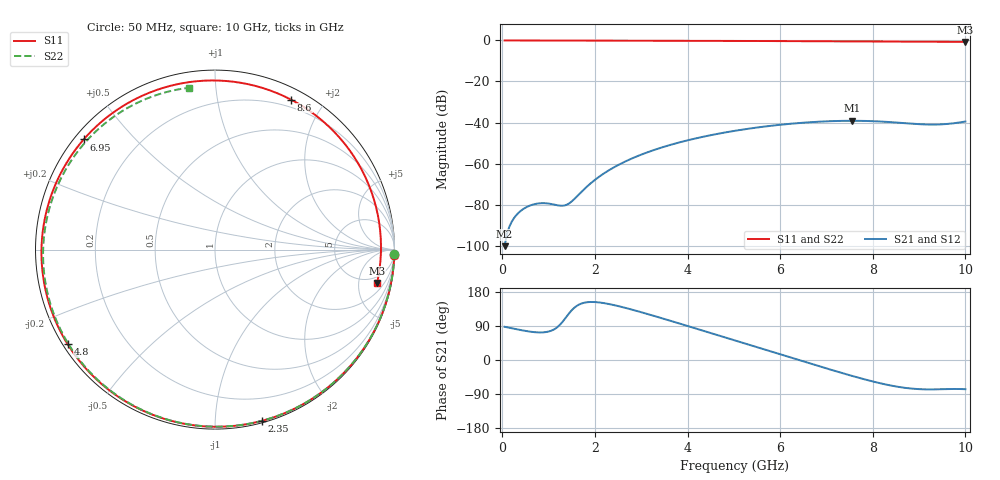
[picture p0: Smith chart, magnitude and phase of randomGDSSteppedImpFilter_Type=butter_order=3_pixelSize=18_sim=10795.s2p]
! freq	dB(S11)	phase(S11)	dB(S12)	phase(S12)
!  dB(S21)	phase(S21)	dB(S22)	phase(S22)
!S-par simulation data
#  GHz  S  DB  R 50
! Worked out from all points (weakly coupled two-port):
!   200 points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, 50 MHz to 10 GHz, reference 50 ohm
!   highest |S21| = -39.15 dB at 7.55 GHz (marker M1); lowest = -100.3 dB at 50 MHz (marker M2)
!   lowest |S11| = -0.7 dB at 10 GHz (marker M3), VSWR 24.62, Z = 171 - j423 ohm
!   |S11| at or under -10 dB: nowhere
!   |S22| runs from -0.8 to 0.0 dB; largest |S21 - S12| = 0
!   S11 on the Smith chart (normalised r, x): 50 MHz: 1, -68; 2.35 GHz: 0.01, -1.31; 4.8 GHz: 0.01, -0.29; 6.95 GHz: 0.03, +0.36; 8.6 GHz: 0.12, +1.62; 10 GHz: 3.42, -8.47
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0.05  -0.00 -1.7  -100.25 87.6  -100.25 87.6  -0.00 -1.4
0.7  -0.03 -22.9  -79.75 73.4  -79.75 73.4  -0.02 -18.8
1.4  -0.06 -45.4  -79.98 116.5  -79.98 116.5  -0.05 -37.2
1.75  -0.07 -56.4  -72.87 150.5  -72.87 150.5  -0.06 -46.2
2.05  -0.08 -65.6  -67.09 152.4  -67.09 152.4  -0.07 -53.9
2.35  -0.09 -74.8  -62.62 146.5  -62.62 146.5  -0.08 -61.4
2.85  -0.11 -89.8  -57.02 131.3  -57.02 131.3  -0.09 -73.7
3.4  -0.14 -106.1  -52.46 111.9  -52.46 111.9  -0.11 -86.9
4.1  -0.17 -126.5  -48.13 86.1  -48.13 86.1  -0.14 -103.3
4.8  -0.21 -147.2  -44.88 60.0  -44.88 60.0  -0.17 -119.3
5.05  -0.23 -154.8  -43.93 50.6  -43.93 50.6  -0.19 -124.9
5.9  -0.30 178.2  -41.33 18.8  -41.33 18.8  -0.24 -144.2
6.7  -0.37 149.7  -39.77 -11.1  -39.77 -11.1  -0.31 -162.8
6.95  -0.40 140.0  -39.47 -20.3  -39.47 -20.3  -0.33 -168.8
7.55  -0.46 114.7  -39.15 -41.9  -39.15 -41.9  -0.39 176.3
7.95  -0.50 96.1  -39.30 -55.1  -39.30 -55.1  -0.44 165.8
8.35  -0.54 76.2  -39.75 -66.4  -39.75 -66.4  -0.49 154.8
8.6  -0.57 63.1  -40.15 -71.8  -40.15 -71.8  -0.52 147.5
9  -0.60 41.7  -40.79 -76.9  -40.79 -76.9  -0.58 135.1
9.35  -0.63 22.7  -40.99 -77.5  -40.99 -77.5  -0.64 123.5
9.65  -0.66 6.6  -40.61 -76.6  -40.61 -76.6  -0.70 112.8
10  -0.71 -11.6  -39.50 -77.1  -39.50 -77.1  -0.79 99.2
